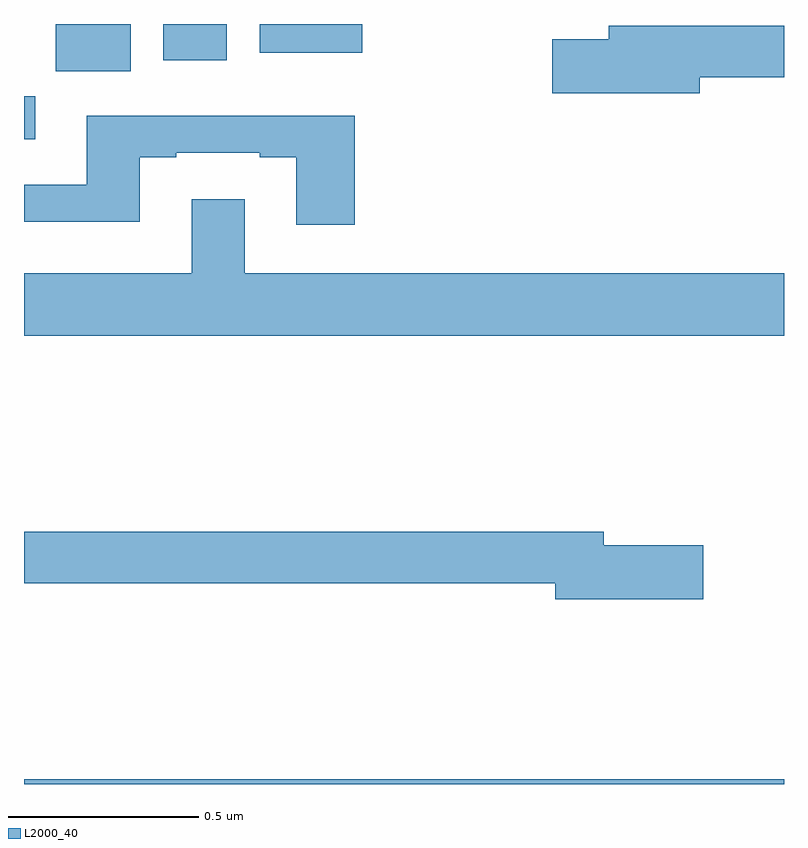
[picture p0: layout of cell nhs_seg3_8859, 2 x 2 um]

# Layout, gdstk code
import gdstk
lib = gdstk.Library(unit=1e-6, precision=1e-09)
def R(c, l, rs):  # rectangles x0, y0, x1, y1
    for r in rs: c.add(gdstk.rectangle(r[:2], r[2:], *l))
def P(c, l, *ps):  # polygons
    for p in ps: c.add(gdstk.Polygon(p, *l))
L2000_40 = (2000, 40)

nhs_seg3_8859 = lib.new_cell('nhs_seg3_8859')
R(nhs_seg3_8859, L2000_40, [(221,702.4,223,702.412), (221,704.097,221.029,704.21), (221.084,704.276,221.281,704.4), (221.366,704.304,221.533,704.4), (221.621,704.324,221.89,704.4)])
P(nhs_seg3_8859, L2000_40, [(222.778,704.26),(223,704.26),(223,704.396),(222.539,704.396),(222.539,704.36),(222.39,704.36),(222.39,704.218),(222.778,704.218)],
  [(221.87,704.158),(221.165,704.158),(221.165,703.977),(221,703.977),(221,703.88),(221.305,703.88),(221.305,704.049),(221.401,704.049),(221.401,704.061),(221.621,704.061),(221.621,704.049),(221.717,704.049),(221.717,703.872),(221.87,703.872)],
  [(223,703.744),(221.581,703.744),(221.581,703.939),(221.441,703.939),(221.441,703.744),(221,703.744),(221,703.58),(223,703.58)],
  [(222.787,703.028),(222.526,703.028),(222.526,703.064),(221,703.064),(221,702.928),(222.398,702.928),(222.398,702.886),(222.787,702.886)])

lib.write_gds('nhs_seg3_8859.gds')
